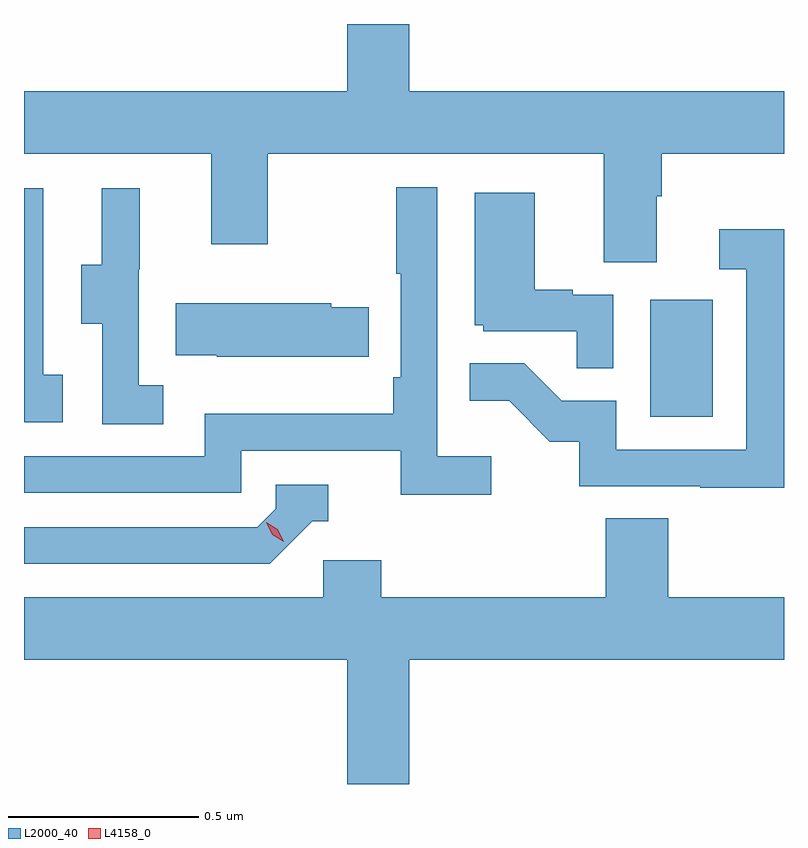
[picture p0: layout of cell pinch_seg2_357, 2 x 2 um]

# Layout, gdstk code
import gdstk
lib = gdstk.Library(unit=1e-6, precision=1e-09)
def R(c, l, rs):  # rectangles x0, y0, x1, y1
    for r in rs: c.add(gdstk.rectangle(r[:2], r[2:], *l))
def P(c, l, *ps):  # polygons
    for p in ps: c.add(gdstk.Polygon(p, *l))
L2000_40 = (2000, 40)
L4158_0 = (4158, 0)

pinch_seg2_357 = lib.new_cell('pinch_seg2_357')
R(pinch_seg2_357, L2000_40, [(992.978,626.964,993.142,627.271)])
P(pinch_seg2_357, L2000_40, [(992.995,627.544),(993.008,627.544),(993.008,627.656),(993.33,627.656),(993.33,627.82),(992.344,627.82),(992.344,627.997),(992.18,627.997),(992.18,627.82),(991.33,627.82),(991.33,627.656),(991.823,627.656),(991.823,627.417),(991.971,627.417),(991.971,627.656),(992.855,627.656),(992.855,627.37),(992.995,627.37)],
  [(992.56,626.86),(992.418,626.86),(992.418,627.568),(992.31,627.568),(992.31,627.34),(992.322,627.34),(992.322,627.067),(992.302,627.067),(992.302,626.971),(991.806,626.971),(991.806,626.859),(991.33,626.859),(991.33,626.763),(991.902,626.763),(991.902,626.874),(992.321,626.874),(992.321,626.758),(992.56,626.758)],
  [(991.432,627.074),(991.38,627.074),(991.38,627.565),(991.33,627.565),(991.33,626.949),(991.432,626.949)],
  [(991.696,627.047),(991.632,627.047),(991.632,627.351),(991.634,627.351),(991.634,627.565),(991.535,627.565),(991.535,627.363),(991.481,627.363),(991.481,627.208),(991.536,627.208),(991.536,626.944),(991.696,626.944)],
  [(992.88,627.285),(992.774,627.285),(992.774,627.298),(992.674,627.298),(992.674,627.553),(992.516,627.553),(992.516,627.204),(992.538,627.204),(992.538,627.189),(992.785,627.189),(992.785,627.091),(992.88,627.091)],
  [(993.33,627.457),(993.159,627.457),(993.159,627.351),(993.231,627.351),(993.231,626.877),(992.889,626.877),(992.889,627.006),(992.745,627.006),(992.647,627.104),(992.503,627.104),(992.503,627.005),(992.607,627.005),(992.714,626.898),(992.791,626.898),(992.791,626.781),(993.109,626.781),(993.109,626.776),(993.33,626.776)],
  [(992.237,627.252),(992.139,627.252),(992.139,627.262),(991.729,627.262),(991.729,627.125),(991.837,627.125),(991.837,627.122),(992.237,627.122)],
  [(992.088,626.688),(992.131,626.688),(992.131,626.784),(991.992,626.784),(991.992,626.721),(991.944,626.673),(991.33,626.673),(991.33,626.577),(991.977,626.577)],
  [(992.344,626.324),(993.33,626.324),(993.33,626.488),(993.026,626.488),(993.026,626.696),(992.861,626.696),(992.861,626.488),(992.27,626.488),(992.27,626.586),(992.118,626.586),(992.118,626.488),(991.33,626.488),(991.33,626.324),(992.18,626.324),(992.18,625.997),(992.344,625.997)])
P(pinch_seg2_357, L4158_0, [(992.014,626.634),(991.983,626.653),(991.967,626.686),(991.967,626.686),(991.967,626.686),(991.998,626.667),(992.014,626.634),(992.014,626.634)])

lib.write_gds('pinch_seg2_357.gds')
